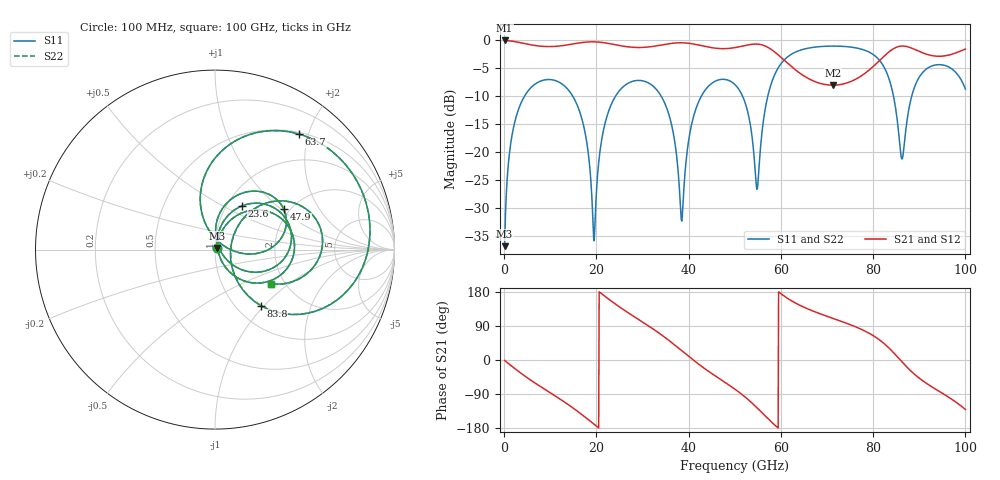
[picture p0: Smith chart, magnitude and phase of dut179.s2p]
! Touchstone file exported from HFSS 2026.1.0
!  File:  C:/ffzhzh/LocalFiles/Ansys_Project_Files/temp_train_TSV_RDL_179_1783652480_33328.aedt
!  Generated:  11:10:52 AM Jul 10, 2026
!  Design:  TSV_RDL
!  Project:  temp_train_TSV_RDL_179_1783652480_33328
! Variables:
!  h_bsmrdl = 4.88um
!  h_ox = 20um
!  h_rdl = 5um
!  h_sub = 85.2um
!  h_tmrdl = 4.56um
!  h_tsv = 85.2um
!  h_via = 3um
!  l_bsmrdl = 426.73um
!  l_sub = 2769.57um
!  l_tmrdl = 240.32um
!  m_sub = 200um
!  pitch = 45.62um
!  r_tsv = 6.19um
!  s_tmrdl = 10um
!  w_bsmrdl = 28.8um
!  w_sub = 500um
!  w_tmrdl = 13.9um
!  x_tsv_center1 = 247.27um
!  x_tsv_center2 = 702.8um
!  x_tsv_center3 = 957.02um
!  x_tsv_center4 = 1412.55um
!  x_tsv_center5 = 1666.77um
!  x_tsv_center6 = 2122.3um
# GHz S MA R 50.000000
! Terminal data exported
! Port[1] = TM_RDL1_1_T1
! Port[2] = TM_RDL5_1_T1
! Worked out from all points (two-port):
!   1000 points, 100 MHz to 100 GHz, reference 50 ohm
!   highest |S21| = -0.10 dB at 100 MHz (marker M1); lowest = -8.1 dB at 71.3 GHz (marker M2)
!   |S21| within 3 dB of the highest: start of sweep to 60.01 GHz; 82.11 GHz to end of sweep
!   lowest |S11| = -36.7 dB at 100 MHz (marker M3), VSWR 1.03, Z = 51.1 + j0.923 ohm
!   |S11| at or under -10 dB: 14.85 GHz to 24.17 GHz (9.312 GHz wide, 47.7 % of centre); 34.03 GHz to 42.77 GHz (8.738 GHz wide, 22.8 % of centre); 51.68 GHz to 57.17 GHz (5.489 GHz wide, 10.1 % of centre) (the widest 3 of 5)
!   |S22| runs from -36.7 to -1.1 dB; largest |S21 - S12| = 5.9e-13
!   S11 on the Smith chart (normalised r, x): 100 MHz: 1.02, +0.02; 23.6 GHz: 1.18, +0.63; 47.9 GHz: 1.86, +1.04; 63.7 GHz: 0.53, +1.85; 83.8 GHz: 1.28, -0.96; 100 GHz: 1.70, -0.74
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0.1  0.01455 38.3  0.9887 -1.0  0.9887 -1.0  0.01455 38.3
! Gamma 0 0 0 0
! Port Impedance 50 0 50 0
1.7  0.1409 66.9  0.9747 -16.8  0.9747 -16.8  0.1409 66.9
5  0.3431 39.7  0.9174 -46.8  0.9174 -46.8  0.3431 39.7
16.8  0.2014 -51.4  0.9463 -143.5  0.9463 -143.5  0.2014 -51.5
19.5  0.01624 14.1  0.9608 -169.4  0.9608 -169.4  0.01572 14.1
23.6  0.2872 58.1  0.914 152.2  0.914 152.2  0.2871 58.2
33.4  0.3458 -16.3  0.8906 72.6  0.8906 72.6  0.3456 -16.2
36.4  0.1682 -38.5  0.9326 45.3  0.9326 45.3  0.168 -38.5
38.5  0.02432 27.0  0.9427 24.6  0.9427 24.6  0.0242 27.4
41.6  0.2449 78.3  0.9099 -5.7  0.9099 -5.7  0.245 78.3
47.9  0.4443 30.4  0.8362 -59.2  0.8362 -59.2  0.4443 30.5
50.1  0.3977 14.0  0.8546 -77.5  0.8546 -77.5  0.3977 14.0
54.8  0.04665 47.0  0.9175 -126.0  0.9175 -126.0  0.04694 47.0
57.9  0.4064 98.6  0.8228 -163.2  0.8228 -163.2  0.4064 98.6
63.7  0.796 53.9  0.5198 146.9  0.5198 146.9  0.796 54.0
66.7  0.8549 38.6  0.4372 130.4  0.4372 130.4  0.8549 38.6
71.3  0.881 19.4  0.3951 109.8  0.3951 109.8  0.8809 19.5
83.4  0.4556 -47.7  0.7805 32.0  0.7805 32.0  0.4557 -47.5
83.8  0.4029 -50.8  0.8037 27.2  0.8037 27.2  0.403 -50.6
86.3  0.0871 1.2  0.8819 -5.5  0.8819 -5.5  0.08855 1.1
91  0.5261 28.7  0.7597 -56.9  0.7597 -56.9  0.5262 28.5
100  0.3649 -31.3  0.8289 -130.6  0.8289 -130.6  0.3646 -31.6
